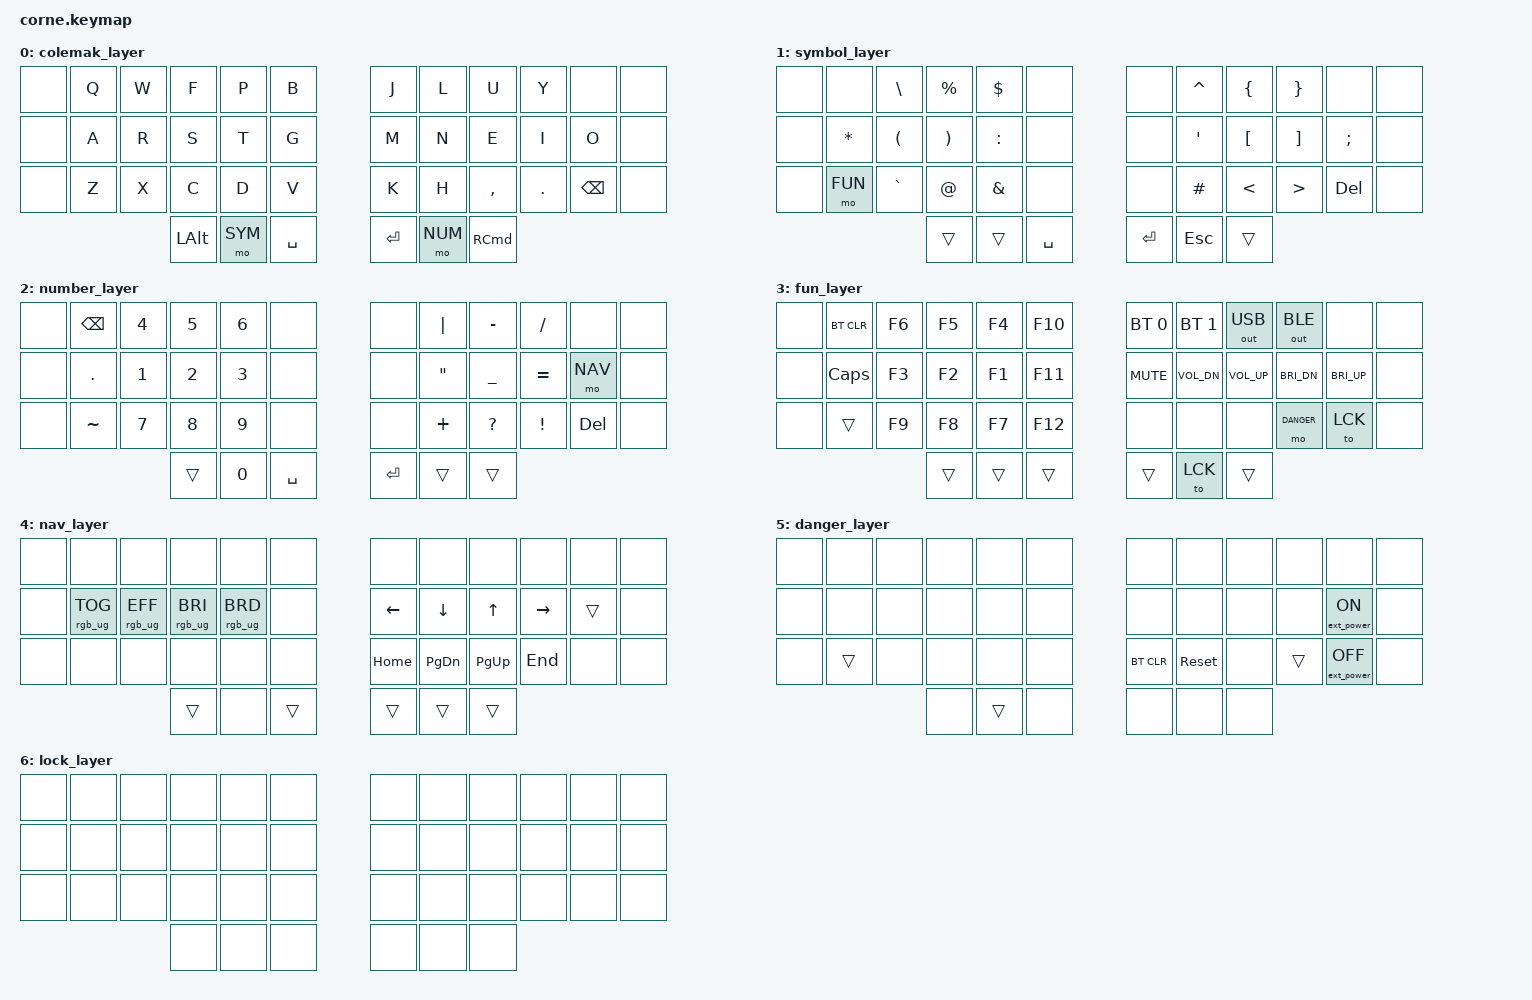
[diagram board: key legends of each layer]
/*
 * Copyright (c) 2020 The ZMK Contributors
 *
 * SPDX-License-Identifier: MIT
 */


#include <behaviors.dtsi>
#include <dt-bindings/zmk/keys.h>
#include <dt-bindings/zmk/bt.h>
#include <dt-bindings/zmk/outputs.h>
#include <dt-bindings/zmk/ext_power.h>
#include <dt-bindings/zmk/rgb.h>
 
#define CMK 0
#define SYM 1
#define NUM 2
#define FUN 3
#define NAV 4
#define DANGER 5
#define LCK 6

&caps_word {
   continue-list = <UNDERSCORE MINUS BACKSPACE>;
};


/ {

    behaviors {
        skq: sticky_key_quick_release {
            compatible = "zmk,behavior-sticky-key";
            label = "STICKY_KEY_QUICK_RELEASE";
            #binding-cells = <1>;
            bindings = <&kp>;
            release-after-ms = <1000>;
            quick-release;
        };
    };

    combos {
        compatible = "zmk,combos";
        combo_wf_shift {
            layers = <0 1 2 3 4 5>;
            timeout-ms = <50>;
            // W + F
            key-positions = <2 3>;
            bindings = <&skq LSHFT>;
        };
        combo_gm_capsword {
            layers = <0 1 2 3 4 5>;
            timeout-ms = <100>;
            // G + M
            key-positions = <17 18>;
            bindings = <&caps_word>;
        };
        combo_xc_ctrl {
            layers = <0 1 2 3 4 5>;
            timeout-ms = <50>;
            // Z + X
            key-positions = <26 27>;
            bindings = <&sk LCTL>;
        };
        combo_unlock {
            timeout-ms = <50>;
            // (Z + SYM) + NAV (NUM + SFT)
            key-positions = <25 34 37 40>;
            bindings = <&tog LCK>;
        };
        combo_commadot_tab {
            layers = <0 1 2 3 4 5>;
            timeout-ms = <50>;
            // , + . = shift
            key-positions = <32 33>;
            bindings = <&kp TAB>;
        };
        combo_opt {
            layers = <0 1 2 3 4 5>;
            timeout-ms = <50>;
            // SYM + SPC = CMD
            key-positions = <37 38>;
            bindings = <&sk LCMD>;
        };
        combo_cmd {
            layers = <0 1 2 3 4 5>;
            timeout-ms = <50>;
            // NUM + ENT = OPT
            key-positions = <39 40>;
            bindings = <&sk LALT>;
        };
        combo_bspc {
            layers = <0 1 2 3 4 5>;
            timeout-ms = <80>;
            // SPC + ENT = BSPC
            key-positions = <38 39>;
            bindings = <&kp BSPC>;
        };
        combo_wp_q {
            layers = <0 1 2 3 4 5>;
            timeout-ms = <50>;
            // W + P = Q
            key-positions = <2 4>;
            bindings = <&kp Q>;
        };
    };
};



/ {
        keymap {
                compatible = "zmk,keymap";
                colemak_layer {
// ---------------------------------------------------------------------------
// |     |  Q  |  W  |  F  |  P  |  B  | |  J  |  L  |  U  |  Y  |     |     |
// |     |  A  |  R  |  S  |  T  |  G  | |  M  |  N  |  E  |  I  |  O  |     |
// |     |  Z  |  X  |  C  |  D  |  V  | |  K  |  H  |  ,  |  .  |BKSPC|     |
//                   | OPT |-SYM-| SPC | | RET |-NUM-| CMD |
                        bindings = <
   &none &kp Q &kp W &kp F &kp P &kp B &kp J &kp L   &kp U     &kp Y   &none  &none
   &none &kp A &kp R &kp S &kp T &kp G &kp M &kp N   &kp E     &kp I   &kp O     &none
   &none &kp Z &kp X &kp C &kp D &kp V &kp K &kp H   &kp COMMA &kp DOT &kp BSPC &none
            &kp LALT &mo SYM &kp SPACE &kp RET &mo NUM &kp RCMD
                        >;
                };
                symbol_layer {
// ---------------------------------------------------------------------------
// |     |     |  \  |  %  |  $  |     | |     |  ^  |  {  |  }  |     |     |
// |     |  *  |  (  |  )  |  :  |     | |     |  '  |  [  |  ]  |  ;  |     |
// |     |-FUN-|  `  |  @  |  &  |     | |     |  #  |  <  |  >  | DEL |     |
//                   | OPT |_SYM_| SPACE | | RET | ESC | CMD |
                        bindings = <
   &none &none  &kp BSLH &kp PRCNT &kp DLLR  &none &none &kp CARET &kp LBRC &kp RBRC &none  &none
   &none &kp STAR &kp LPAR &kp RPAR  &kp COLON &none &none &kp SQT   &kp LBKT &kp RBKT &kp SEMI  &none
   &none &mo FUN  &kp GRAVE   &kp AT  &kp AMPS  &none &none &kp HASH &kp LT   &kp GT   &kp DEL &none
                             &trans &trans &kp SPACE &kp RET &kp ESC &trans
                        >;
                };
                number_layer {
// ---------------------------------------------------------------------------
// |     |     |  4  |  5  |  6  |     | |     |  |  |  -  |  /  |     |     |
// |     |  .  |  1  |  2  |  3  |     | |     |  "  |  _  |  =  |-NAV-|     |
// |     |  ~  |  7  |  8  |  9  |     | |     |  +  |  ?  |  !  | DEL |     |
//                   | OPT |  0  | SPC | | RET |_NUM_| CMD |
                        bindings = <
   &none &kp BSPC  &kp N4 &kp N5 &kp N6 &none &none &kp PIPE &kp MINUS &kp FSLH  &none &none
   &none &kp DOT &kp N1 &kp N2 &kp N3 &none &none &kp DQT  &kp UNDER &kp EQUAL &mo NAV  &none 
   &none &kp TILDE  &kp N7 &kp N8 &kp N9 &none &none &kp PLUS &kp QMARK  &kp EXCL    &kp DEL &none
                 &trans &kp N0 &kp SPACE &kp RET  &trans    &trans
                        >;
                };
                fun_layer {
// ---------------------------------------------------------------------------
// |     |     | F 6 | F 5 | F 4 | F10 | | BT0 | BT1 | USB | BLE |     |     |
// |     |CAPSL| F 3 | F 2 | F 1 | F11 | |VMUTE|VOLDN|VOLUP|BRIDN|BRIUP|     |
// |     |_FUN_| F 9 | F 8 | F 7 | F12 | | <!> | <!> |SLEEP|-!!!-|<LCK>|
//                   | OPT |_SYM_| SPC | | RET |<LCK>| CMD |
                        bindings = <
   &none &bt BT_CLR &kp F6 &kp F5 &kp F4 &kp F10  &bt BT_SEL 0 &bt BT_SEL 1 &out OUT_USB &out OUT_BLE &none &none
   &none &kp CAPS &kp F3   &kp F2 &kp F1 &kp F11      &kp K_MUTE &kp C_VOL_DN &kp C_VOL_UP  &kp C_BRI_DN &kp C_BRI_UP &none
   &none &trans &kp F9 &kp F8 &kp F7  &kp F12      &none  &none &none &mo DANGER &to LCK   &none
                         &trans &trans &trans &trans &to LCK &trans 
                        >;
                };
                nav_layer {
// ---------------------------------------------------------------------------
// |     |     |     |     |     |     | |     |     |     |     |     |     |
// |     | TOG | EFF | BRI | BRD |     | | LFT | DWN | U P |RIGHT|_NAV_|     |
// |     | SAD |     |     |     |     | | HOM |PG_DN|PG_UP| END |     |     |
//                   | OPT |     | SPC | | RET |_NUM_| CMD |
                        bindings = <
   &none &none      &none &none &none &none &none    &none     &none     &none     &none  &none 
   &none &rgb_ug RGB_TOG &rgb_ug RGB_EFF &rgb_ug RGB_BRI &rgb_ug RGB_BRD &none &kp LEFT &kp DOWN  &kp UP    &kp RIGHT &trans  &none 
   &none &none &none &none &none &none &kp HOME &kp PG_DN &kp PG_UP &kp END   &none &none 
                         &trans &none &trans &trans &trans &trans
                        >;
                };
                danger_layer {
// ---------------------------------------------------------------------------
// |     |     |     |     |     |     | |     |     |     |     |     |     |
// |     |     |     |     |     |     | |     |     |     |     |EP ON|     |
// |     |_FUN_|     |     |     |     | |BTCLR|RESET|     |_!!!_|EPOFF|     |
//                   |     |_SYM_|     | |     |     |     |
                    // impactful buttons
                    // Bluetooth clear, reset
                    bindings = <
&none &none &none &none &none &none &none &none &none &none &none &none 
&none &none &none &none &none &none &none &none &none &none &ext_power EP_ON &none 
&none &trans &none &none &none &none &bt BT_CLR &sys_reset &none &trans &ext_power EP_OFF &none 
&none &trans &none &none &none &none 
                    >;
                };
                lock_layer {
                    // only way out is the combo Z + SYM + NUM + SFT
                    // other combos are disabled too
                    bindings = <
&none &none &none &none &none &none &none &none &none &none &none &none 
&none &none &none &none &none &none &none &none &none &none &none &none 
&none &none &none &none &none &none &none &none &none &none &none &none 
&none &none &none &none &none &none 
                    >;
                };
        };
};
